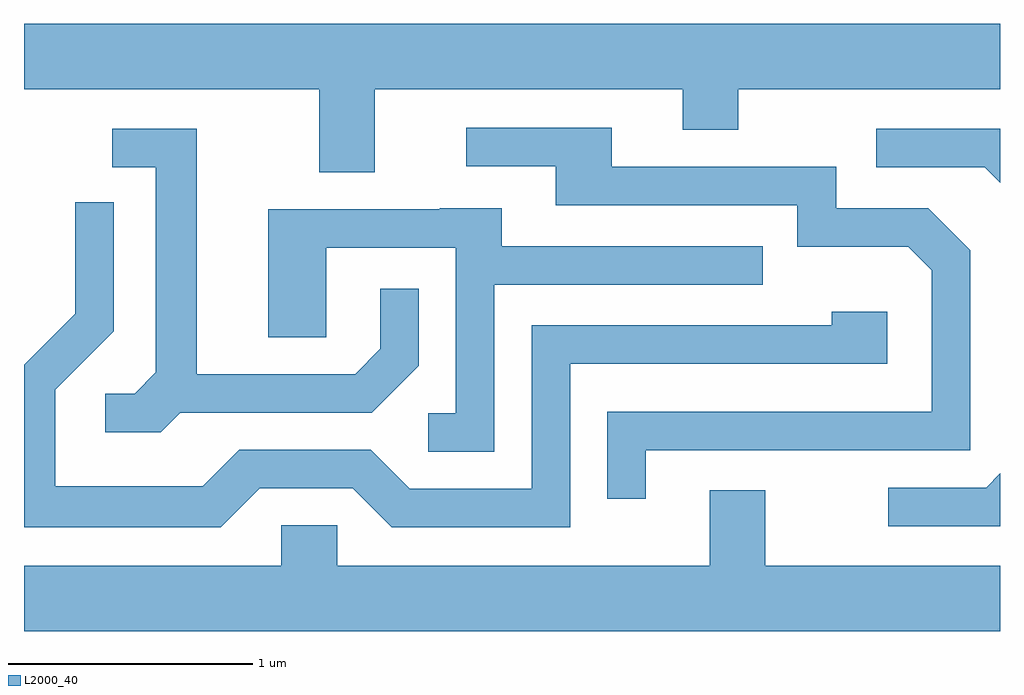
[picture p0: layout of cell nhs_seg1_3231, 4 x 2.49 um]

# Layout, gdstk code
import gdstk
lib = gdstk.Library(unit=1e-6, precision=1e-09)
def P(c, l, *ps):  # polygons
    for p in ps: c.add(gdstk.Polygon(p, *l))
L2000_40 = (2000, 40)

nhs_seg1_3231 = lib.new_cell('nhs_seg1_3231')
P(nhs_seg1_3231, L2000_40, [(285.049,850.736),(286.311,850.736),(286.311,850.571),(286.539,850.571),(286.539,850.736),(287.611,850.736),(287.611,851.004),(283.611,851.004),(283.611,850.736),(284.821,850.736),(284.821,850.396),(285.049,850.396)],
  [(286.159,849.256),(287.489,849.256),(287.489,850.077),(287.317,850.249),(286.939,850.249),(286.939,850.419),(286.019,850.419),(286.019,850.579),(285.423,850.579),(285.423,850.421),(285.791,850.421),(285.791,850.261),(286.781,850.261),(286.781,850.091),(287.234,850.091),(287.331,849.994),(287.331,849.414),(286.001,849.414),(286.001,849.058),(286.159,849.058)],
  [(287.611,850.574),(287.103,850.574),(287.103,850.416),(287.549,850.416),(287.611,850.354)],
  [(284.252,849.411),(285.037,849.411),(285.229,849.604),(285.229,849.918),(285.071,849.918),(285.071,849.672),(284.969,849.569),(284.319,849.569),(284.319,850.574),(283.973,850.574),(283.973,850.416),(284.151,850.416),(284.151,849.577),(284.064,849.489),(283.943,849.489),(283.943,849.331),(284.172,849.331)],
  [(284.577,849.101),(284.959,849.101),(285.119,848.941),(285.849,848.941),(285.849,849.611),(287.149,849.611),(287.149,849.824),(286.921,849.824),(286.921,849.769),(285.691,849.769),(285.691,849.099),(285.192,849.099),(285.032,849.259),(284.494,849.259),(284.344,849.109),(283.739,849.109),(283.739,849.504),(283.979,849.744),(283.979,850.273),(283.821,850.273),(283.821,849.817),(283.611,849.607),(283.611,848.941),(284.417,848.941)],
  [(285.539,849.936),(286.638,849.936),(286.638,850.094),(285.569,850.094),(285.569,850.249),(285.315,850.249),(285.315,850.244),(284.611,850.244),(284.611,849.721),(284.849,849.721),(284.849,850.086),(285.381,850.086),(285.381,849.409),(285.268,849.409),(285.268,849.251),(285.539,849.251)],
  [(287.611,849.162),(287.554,849.104),(287.153,849.104),(287.153,848.946),(287.611,848.946)],
  [(287.611,848.784),(286.649,848.784),(286.649,849.094),(286.421,849.094),(286.421,848.784),(284.894,848.784),(284.894,848.949),(284.666,848.949),(284.666,848.784),(283.611,848.784),(283.611,848.516),(287.611,848.516)])

lib.write_gds('nhs_seg1_3231.gds')
